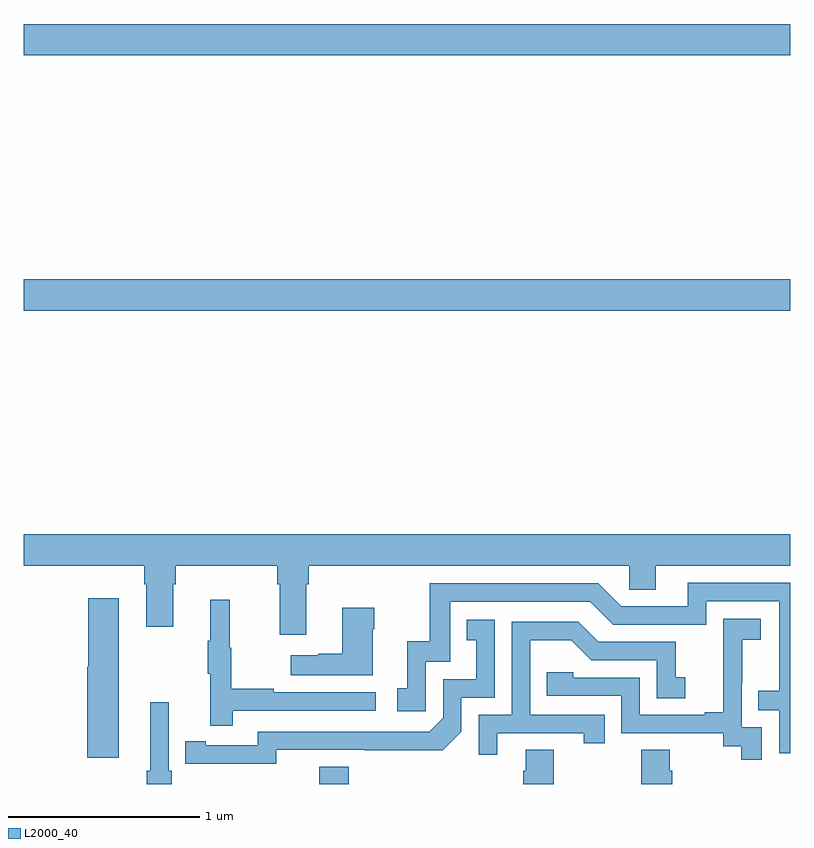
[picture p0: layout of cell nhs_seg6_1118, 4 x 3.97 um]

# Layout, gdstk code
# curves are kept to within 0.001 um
import gdstk
lib = gdstk.Library(unit=1e-6, precision=1e-09)
def R(c, l, rs):  # rectangles x0, y0, x1, y1
    for r in rs: c.add(gdstk.rectangle(r[:2], r[2:], *l))
def P(c, l, *ps):  # polygons
    for p in ps: c.add(gdstk.Polygon(p, *l))
L2000_40 = (2000, 40)

nhs_seg6_1118 = lib.new_cell('nhs_seg6_1118')
R(nhs_seg6_1118, L2000_40, [(180.542,975.5,180.695,975.589), (179,977.972,183,978.136), (179,979.304,183,979.468)])
P(nhs_seg6_1118, L2000_40, [(180.475,976.544),(180.488,976.544),(180.488,976.64),(182.16,976.64),(182.16,976.513),(182.299,976.513),(182.299,976.64),(183,976.64),(183,976.804),(179,976.804),(179,976.64),(179.627,976.64),(179.627,976.544),(179.639,976.544),(179.639,976.32),(179.779,976.32),(179.779,976.544),(179.792,976.544),(179.792,976.64),(180.323,976.64),(180.323,976.544),(180.335,976.544),(180.335,976.278),(180.475,976.278)],
  [(183,976.551),(182.465,976.551),(182.465,976.428),(182.118,976.428),(181.998,976.548),(181.119,976.548),(181.119,976.246),(181.001,976.246),(181.001,975.999),(180.948,975.999),(180.948,975.879),(181.098,975.879),(181.098,976.137),(181.227,976.137),(181.227,976.452),(181.956,976.452),(182.076,976.332),(182.562,976.332),(182.562,976.455),(182.943,976.455),(182.943,975.986),(182.833,975.986),(182.833,975.885),(182.943,975.885),(182.943,975.66),(183,975.66)],
  [(179.494,976.471),(179.336,976.471),(179.336,976.113),(179.33,976.113),(179.33,975.636),(179.494,975.636)],
  [(180.089,975.882),(180.838,975.882),(180.838,975.978),(180.305,975.978),(180.305,975.998),(180.082,975.998),(180.082,976.212),(180.074,976.212),(180.074,976.462),(179.972,976.462),(179.972,976.249),(179.961,976.249),(179.961,976.075),(179.972,976.075),(179.972,975.804),(180.089,975.804)],
  [(180.82,976.307),(180.828,976.307),(180.828,976.42),(180.662,976.42),(180.662,976.181),(180.536,976.181),(180.536,976.171),(180.393,976.171),(180.393,976.067),(180.82,976.067)],
  [(182.853,975.795),(182.748,975.795),(182.748,976.025),(182.75,976.025),(182.75,976.253),(182.848,976.253),(182.848,976.363),(182.65,976.363),(182.65,976.157),(182.651,976.157),(182.651,975.874),(182.555,975.874),(182.555,975.861),(182.214,975.861),(182.214,976.056),(181.869,976.056),(181.869,976.083),(181.729,976.083),(181.729,975.96),(182.118,975.96),(182.118,975.765),(182.652,975.765),(182.652,975.697),(182.745,975.697),(182.745,975.627),(182.853,975.627)],
  [(180.318,975.678),(181.186,975.677),(181.284,975.774),(181.284,975.951),(181.458,975.951),(181.458,976.357),(181.312,976.357),(181.312,976.251),(181.361,976.251),(181.361,976.047),(181.188,976.047),(181.188,975.846),(181.116,975.774),(180.222,975.774),(180.222,975.702),(179.95,975.702),(179.95,975.722),(179.842,975.722),(179.842,975.606),(180.318,975.605)],
  [(181.471,975.765),(181.922,975.765),(181.922,975.714),(182.033,975.714),(182.033,975.861),(181.644,975.861),(181.644,976.25),(181.858,976.25),(181.962,976.146),(182.304,976.146),(182.304,975.948),(182.452,975.948),(182.452,976.057),(182.403,976.057),(182.403,976.242),(181.999,976.242),(181.894,976.347),(181.548,976.347),(181.548,975.861),(181.374,975.861),(181.374,975.654),(181.471,975.654)],
  [(179.771,975.568),(179.757,975.568),(179.757,975.928),(179.66,975.928),(179.66,975.568),(179.641,975.568),(179.641,975.5),(179.771,975.5)],
  [(181.767,975.68),(181.619,975.68),(181.619,975.57),(181.607,975.57),(181.607,975.5),(181.767,975.5)],
  [(182.384,975.57),(182.371,975.57),(182.371,975.68),(182.224,975.68),(182.224,975.5),(182.384,975.5)])

lib.write_gds('nhs_seg6_1118.gds')
